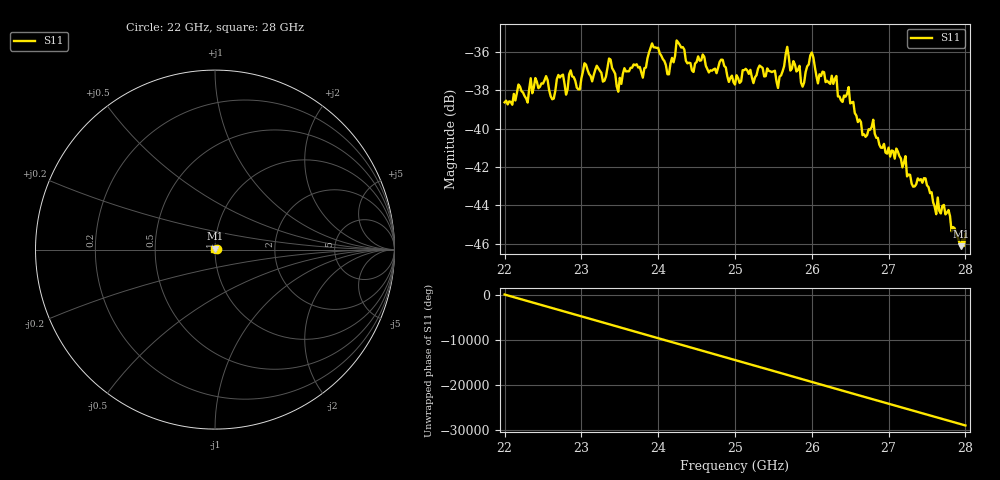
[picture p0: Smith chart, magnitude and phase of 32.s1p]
#  HZ  S  RI  R  50.00
! Rohde & Schwarz ZVA40 4Ports - Version 3.90 - 1145.1110k42 SN: 100403
! Date: 2023-10-04 07:29:04
! Measurement: S12
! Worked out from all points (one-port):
!   301 points, 22 GHz to 28 GHz, reference 50 ohm
!   lowest |S11| = -46.1 dB at 27.94 GHz (marker M1), VSWR 1.01, Z = 50.2 + j0.433 ohm
!   |S11| at or under -10 dB: start of sweep to end of sweep
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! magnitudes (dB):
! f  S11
! 22 GHz  -38.6
! 22.54 GHz  -37.3
! 22.64 GHz  -38.4
! 22.76 GHz  -37.2
! 22.8 GHz  -38.2
! 22.98 GHz  -37.9
! 23.04 GHz  -36.6
! 23.5 GHz  -37.3
! 23.8 GHz  -37.3
! 23.92 GHz  -35.5
! 24.14 GHz  -37.2
! 24.26 GHz  -35.5
! 24.46 GHz  -37.0
! 24.84 GHz  -36.4
! 25 GHz  -37.7
! 25.32 GHz  -36.7
! 25.56 GHz  -37.9
! 25.68 GHz  -35.7
! 25.76 GHz  -36.5
! 25.88 GHz  -37.8
! 26 GHz  -36.0
! 26.08 GHz  -37.6
! 26.32 GHz  -37.2
! 26.5 GHz  -38.7
! 27.26 GHz  -42.4
! 27.48 GHz  -42.6
! 27.94 GHz  -46.1
! 28 GHz  -45.5
